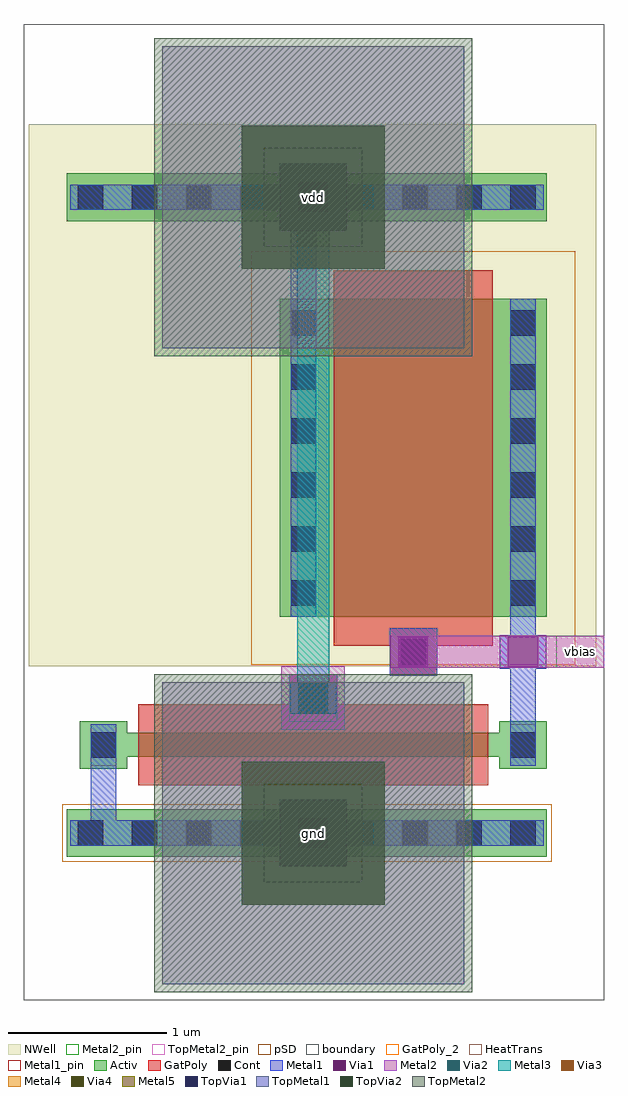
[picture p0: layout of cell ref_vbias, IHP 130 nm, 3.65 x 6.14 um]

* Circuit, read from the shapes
.subckt ref_vbias gnd vbias vdd
XM1 vbias vdd gnd gnd sg13_lv_nmos w=0.15u l=2.2u
XM2 vbias vbias vdd vdd sg13_lv_pmos w=2u l=1u
.ends

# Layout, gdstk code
import gdstk
lib = gdstk.Library(unit=1e-6, precision=1e-09)
def R(c, l, rs):  # rectangles x0, y0, x1, y1
    for r in rs: c.add(gdstk.rectangle(r[:2], r[2:], *l))
def A(c, l, x, y, w, h, nx, ny, dx, dy):  # array of equal rectangles
    R(c, l, [(x+i*dx, y+j*dy, x+i*dx+w, y+j*dy+h) for i in range(nx) for j in range(ny)])
Activ = (1, 0)
GatPoly = (5, 0)
GatPoly_2 = (5, 2)
Cont = (6, 0)
Metal1 = (8, 0)
Metal1_pin = (8, 2)
Metal2 = (10, 0)
Metal2_pin = (10, 2)
pSD = (14, 0)
Via1 = (19, 0)
Via2 = (29, 0)
Metal3 = (30, 0)
NWell = (31, 0)
Via3 = (49, 0)
Metal4 = (50, 0)
HeatTrans = (51, 0)
Via4 = (66, 0)
Metal5 = (67, 0)
TopVia1 = (125, 0)
TopMetal1 = (126, 0)
TopVia2 = (133, 0)
TopMetal2 = (134, 0)
TopMetal2_pin = (134, 2)
boundary = (189, 4)

pmos = lib.new_cell('pmos')
R(pmos, Activ, [(0,0,0.3,0.3), (0,0,1.68,2), (1.38,0,1.68,0.3)])
R(pmos, GatPoly, [(0.34,-0.18,1.34,2.18), (0.34,-0.18,1.34,2.18), (0.34,-0.18,1.34,2.18)])
A(pmos, Cont, 0.07, 0.07, 0.16, 0.16, 1, 6, 0, 0.34)
A(pmos, Cont, 1.45, 0.07, 0.16, 0.16, 1, 6, 0, 0.34)
R(pmos, Metal1, [(0.07,0,0.23,2), (0.07,0,0.23,2), (0.07,0,0.23,2), (1.45,0,1.61,2), (1.45,0,1.61,2), (1.45,0,1.61,2)])
R(pmos, pSD, [(-0.18,-0.3,1.86,2.3)])
R(pmos, NWell, [(-0.31,-0.31,1.99,2.31)])
R(pmos, HeatTrans, [(0.34,-0.18,1.34,2.18)])
pmos.add(gdstk.Label('pmos', (0.84,1), layer=63, texttype=0))
pmos.add(gdstk.Label('pmos', (0.84,1), layer=51, texttype=0))

nmos = lib.new_cell('nmos')
R(nmos, Activ, [(0,0,0.3,0.3), (2.64,0,2.94,0.3), (0,0.075,2.94,0.225)])
R(nmos, GatPoly, [(0.37,-0.105,2.57,0.405)])
R(nmos, GatPoly_2, [(0.37,-0.105,2.57,0.405), (0.37,-0.105,2.57,0.405)])
R(nmos, Cont, [(0.07,0.07,0.23,0.23), (2.71,0.07,2.87,0.23)])
R(nmos, Metal1, [(0.07,0.02,0.23,0.28), (2.71,0.02,2.87,0.28)])
R(nmos, Metal1_pin, [(0.07,0.02,0.23,0.28), (0.07,0.02,0.23,0.28), (2.71,0.02,2.87,0.28), (2.71,0.02,2.87,0.28)])
R(nmos, HeatTrans, [(0.37,-0.105,2.57,0.405)])
nmos.add(gdstk.Label('nmos', (1.47,0.15), layer=63, texttype=0))
nmos.add(gdstk.Label('nmos', (1.47,0.15), layer=51, texttype=0))

via_stack = lib.new_cell('via_stack')
R(via_stack, Activ, [(-1.51,-0.15,1.51,0.15)])
A(via_stack, Cont, -1.44, -0.08, 0.16, 0.16, 9, 1, 0.34, 0)
R(via_stack, Metal1, [(-1.49,-0.08,1.49,0.08)])

via_stack_1 = lib.new_cell('via_stack$1')
R(via_stack_1, GatPoly, [(-0.15,-0.15,0.15,0.15)])
R(via_stack_1, Cont, [(-0.08,-0.08,0.08,0.08)])
R(via_stack_1, Metal1, [(-0.145,-0.105,0.145,0.105)])
R(via_stack_1, Metal2, [(-0.145,-0.1,0.145,0.1)])
R(via_stack_1, Via1, [(-0.095,-0.095,0.095,0.095)])

via_stack_2 = lib.new_cell('via_stack$2')
R(via_stack_2, GatPoly, [(-0.15,-0.15,0.15,0.15)])
R(via_stack_2, Cont, [(-0.08,-0.08,0.08,0.08)])
R(via_stack_2, Metal1, [(-0.145,-0.105,0.145,0.105)])
R(via_stack_2, Metal2, [(-0.145,-0.1,0.145,0.1)])
R(via_stack_2, Via1, [(-0.095,-0.095,0.095,0.095)])
R(via_stack_2, Via2, [(-0.095,-0.095,0.095,0.095)])
R(via_stack_2, Metal3, [(-0.145,-0.1,0.145,0.1)])

via_stack_3 = lib.new_cell('via_stack$3')
R(via_stack_3, Metal1, [(-0.145,-0.105,0.145,0.105)])
R(via_stack_3, Metal2, [(-0.145,-0.1,0.145,0.1)])
R(via_stack_3, Via1, [(-0.095,-0.095,0.095,0.095)])

via_stack_4 = lib.new_cell('via_stack$4')
R(via_stack_4, Metal1, [(-0.145,-0.105,0.145,0.105)])
R(via_stack_4, Metal2, [(-0.145,-0.1,0.145,0.1)])
R(via_stack_4, Via1, [(-0.095,-0.095,0.095,0.095)])
R(via_stack_4, Via2, [(-0.095,-0.095,0.095,0.095)])
R(via_stack_4, Metal3, [(-0.145,-0.1,0.145,0.1)])
R(via_stack_4, Via3, [(-0.095,-0.095,0.095,0.095)])
R(via_stack_4, Metal4, [(-0.145,-0.1,0.145,0.1)])
R(via_stack_4, Via4, [(-0.095,-0.095,0.095,0.095)])
R(via_stack_4, Metal5, [(-0.31,-0.31,0.31,0.31)])
R(via_stack_4, TopVia1, [(-0.21,-0.21,0.21,0.21)])
R(via_stack_4, TopMetal1, [(-0.95,-0.95,0.95,0.95)])
R(via_stack_4, TopVia2, [(-0.45,-0.45,0.45,0.45)])
R(via_stack_4, TopMetal2, [(-1,-1,1,1)])

ref_vbias = lib.new_cell('ref_vbias')
R(ref_vbias, GatPoly, [(1.92,1.2,2.22,1.595), (2.55,1.585,2.85,2.005)])
R(ref_vbias, Metal1, [(1.92,1.295,2.22,1.595), (2.55,1.585,2.85,1.885)])
R(ref_vbias, Metal2, [(1.87,0.395,2.27,0.795), (1.87,1.245,2.27,1.645), (1.87,4.395,2.27,4.795)])
R(ref_vbias, Metal2_pin, [(3.6,1.635,3.9,1.835)])
R(ref_vbias, pSD, [(0.49,0.415,3.57,0.775)])
R(ref_vbias, Metal3, [(1.87,0.395,2.27,0.795), (1.87,4.395,2.27,4.795)])
R(ref_vbias, NWell, [(0.28,1.645,3.85,5.055)])
R(ref_vbias, Metal4, [(1.87,0.395,2.27,0.795), (1.87,4.395,2.27,4.795)])
R(ref_vbias, TopMetal2_pin, [(1.07,-0.405,3.07,1.595), (1.07,3.595,3.07,5.595)])
R(ref_vbias, boundary, [(0.25,-0.455,3.9,5.685)])
ref_vbias.add(gdstk.FlexPath([(2.01,2.955),(2.01,4.595)], 0.16, ends="extended", simple_path=True, layer=8, datatype=0))  # Metal1
ref_vbias.add(gdstk.FlexPath([(0.75,1.15),(0.75,0.595)], 0.16, ends="extended", simple_path=True, layer=8, datatype=0))  # Metal1
ref_vbias.add(gdstk.FlexPath([(3.39,1.15),(3.39,2.955)], 0.16, ends="extended", simple_path=True, layer=8, datatype=0))  # Metal1
ref_vbias.add(gdstk.FlexPath([(2.7,1.735),(3.8,1.735)], 0.2, ends="extended", simple_path=True, layer=10, datatype=0))  # Metal2
ref_vbias.add(gdstk.FlexPath([(2.07,1.445),(2.07,4.595)], 0.2, ends="extended", simple_path=True, layer=30, datatype=0))  # Metal3
ref_vbias.add(gdstk.Reference(pmos, (1.86,1.955)))
ref_vbias.add(gdstk.Reference(nmos, (0.6,1)))
ref_vbias.add(gdstk.Reference(via_stack, (2.03,4.595)))
ref_vbias.add(gdstk.Reference(via_stack, (2.03,0.595)))
ref_vbias.add(gdstk.Reference(via_stack_1, (2.7,1.735)))
ref_vbias.add(gdstk.Reference(via_stack_2, (2.07,1.445)))
ref_vbias.add(gdstk.Reference(via_stack_3, (3.39,1.735)))
ref_vbias.add(gdstk.Reference(via_stack_4, (2.07,4.595)))
ref_vbias.add(gdstk.Reference(via_stack_4, (2.07,0.595)))
ref_vbias.add(gdstk.Label('vdd', (2.07,4.595), layer=134, texttype=25))
ref_vbias.add(gdstk.Label('gnd', (2.07,0.595), layer=134, texttype=25))
ref_vbias.add(gdstk.Label('vbias', (3.75,1.735), layer=10, texttype=25))

lib.write_gds('ref_vbias.gds')
